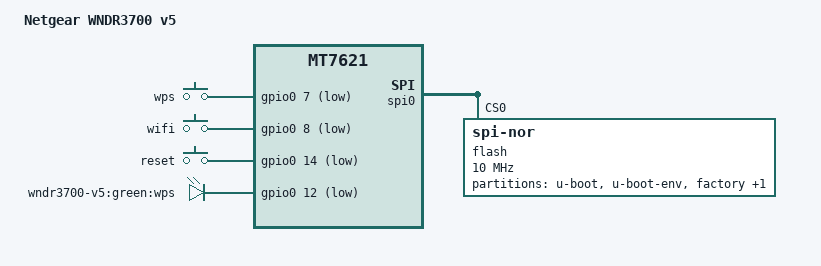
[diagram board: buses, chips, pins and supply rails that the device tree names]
// SPDX-License-Identifier: GPL-2.0
/dts-v1/;

#include "mt7621_netgear_sercomm.dtsi"

/ {
	compatible = "netgear,wndr3700-v5", "mediatek,mt7621-soc";
	model = "Netgear WNDR3700 v5";

	keys {
		compatible = "gpio-keys";

		wps {
			label = "wps";
			gpios = <&gpio0 7 GPIO_ACTIVE_LOW>;
			linux,code = <KEY_WPS_BUTTON>;
		};

		wifi {
			label = "wifi";
			gpios = <&gpio0 8 GPIO_ACTIVE_LOW>;
			linux,code = <KEY_RFKILL>;
		};

		reset {
			label = "reset";
			gpios = <&gpio0 14 GPIO_ACTIVE_LOW>;
			linux,code = <KEY_RESTART>;
		};
	};
};

&leds {
	wps {
		gpios = <&gpio0 12 GPIO_ACTIVE_LOW>;
		label = "wndr3700-v5:green:wps";
	};
};

&led_power {
	label = "wndr3700-v5:green:power";
};

&led_usb {
	label = "wndr3700-v5:green:usb";
};

&led_internet {
	label = "wndr3700-v5:green:wan";
};

&led_wifi {
	label = "wndr3700-v5:green:wifi";
};

&spi0 {
	status = "okay";

	flash@0 {
		compatible = "jedec,spi-nor";
		reg = <0>;
		spi-max-frequency = <10000000>;

		partitions {
			compatible = "fixed-partitions";
			#address-cells = <1>;
			#size-cells = <1>;

			partition@0 {
				label = "u-boot";
				reg = <0x0 0x30000>;
				read-only;
			};

			partition@30000 {
				label = "u-boot-env";
				reg = <0x30000 0x10000>;
				read-only;
			};

			factory: partition@f30000 {
				label = "factory";
				reg = <0xf30000 0x10000>;
				read-only;
			};

			partition@50000 {
				compatible = "denx,uimage";
				label = "firmware";
				reg = <0x50000 0xee0000>;
			};
		};
	};
};
